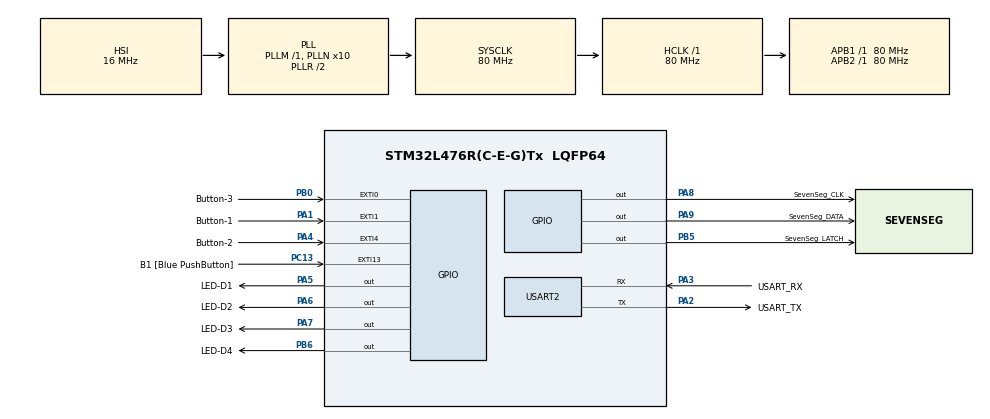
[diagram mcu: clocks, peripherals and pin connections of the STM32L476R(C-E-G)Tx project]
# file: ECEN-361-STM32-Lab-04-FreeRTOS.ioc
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FREERTOS.Tasks01=defaultTask,24,128,StartDefaultTask,Default,NULL,Dynamic,NULL,NULL
FREERTOS.configTOTAL_HEAP_SIZE=15000
FREERTOS.configUSE_NEWLIB_REENTRANT=1
Mcu.Family=STM32L4
Mcu.Name=STM32L476R(C-E-G)Tx
Mcu.Package=LQFP64
NVIC.EXTI0_IRQn=true\:5\:0\:false\:false\:true\:true\:true\:true\:true
NVIC.EXTI1_IRQn=true\:5\:0\:false\:false\:true\:true\:true\:true\:true
NVIC.EXTI4_IRQn=true\:5\:0\:false\:false\:true\:true\:true\:true\:true
NVIC.PriorityGroup=NVIC_PRIORITYGROUP_4
NVIC.TIM1_TRG_COM_TIM17_IRQn=true\:5\:0\:false\:false\:true\:true\:true\:true\:true
NVIC.TIM3_IRQn=true\:15\:0\:false\:false\:true\:false\:false\:true\:true
NVIC.TimeBase=TIM3_IRQn
NVIC.TimeBaseIP=TIM3
PA0.Signal=ADCx_IN5
PA1.GPIO_Label=Button-1
PA1.GPIO_ModeDefaultEXTI=GPIO_MODE_IT_FALLING
PA1.Signal=GPXTI1
PA13\ (JTMS-SWDIO).GPIO_Label=TMS
PA13\ (JTMS-SWDIO).Mode=Serial_Wire
PA13\ (JTMS-SWDIO).Signal=SYS_JTMS-SWDIO
PA14\ (JTCK-SWCLK).GPIO_Label=TCK
PA14\ (JTCK-SWCLK).Mode=Serial_Wire
PA14\ (JTCK-SWCLK).Signal=SYS_JTCK-SWCLK
PA2.GPIO_Label=USART_TX
PA2.GPIO_Mode=GPIO_MODE_AF_PP
PA2.GPIO_PuPd=GPIO_NOPULL
PA2.GPIO_Speed=GPIO_SPEED_FREQ_VERY_HIGH
PA2.Mode=Asynchronous
PA2.Signal=USART2_TX
PA3.GPIO_Label=USART_RX
PA3.GPIO_Mode=GPIO_MODE_AF_PP
PA3.GPIO_PuPd=GPIO_NOPULL
PA3.GPIO_Speed=GPIO_SPEED_FREQ_VERY_HIGH
PA3.Mode=Asynchronous
PA3.Signal=USART2_RX
PA4.GPIO_Label=Button-2
PA4.GPIO_ModeDefaultEXTI=GPIO_MODE_IT_FALLING
PA4.Signal=GPXTI4
PA5.GPIO_Label=LED-D1
PA5.GPIO_ModeDefaultOutputPP=GPIO_MODE_OUTPUT_OD
PA5.GPIO_PuPd=GPIO_PULLUP
PA5.GPIO_Speed=GPIO_SPEED_FREQ_VERY_HIGH
PA5.PinState=GPIO_PIN_SET
PA5.Signal=GPIO_Output
PA6.GPIO_Label=LED-D2
PA6.GPIO_ModeDefaultOutputPP=GPIO_MODE_OUTPUT_OD
PA6.GPIO_PuPd=GPIO_PULLUP
PA6.GPIO_Speed=GPIO_SPEED_FREQ_LOW
PA6.PinState=GPIO_PIN_RESET
PA6.Signal=GPIO_Output
PA7.GPIO_Label=LED-D3
PA7.GPIO_ModeDefaultOutputPP=GPIO_MODE_OUTPUT_OD
PA7.GPIO_PuPd=GPIO_PULLUP
PA7.Signal=GPIO_Output
PA8.GPIO_Label=SevenSeg_CLK
PA8.Signal=GPIO_Output
PA9.GPIO_Label=SevenSeg_DATA
PA9.Signal=GPIO_Output
PB0.GPIO_Label=Button-3
PB0.GPIO_ModeDefaultEXTI=GPIO_MODE_IT_FALLING
PB0.Signal=GPXTI0
PB3\ (JTDO-TRACESWO).Signal=SYS_JTDO-SWO
PB5.GPIO_Label=SevenSeg_LATCH
PB5.Signal=GPIO_Output
PB6.GPIO_Label=LED-D4
PB6.GPIO_ModeDefaultOutputPP=GPIO_MODE_OUTPUT_OD
PB6.GPIO_PuPd=GPIO_PULLUP
PB6.Signal=GPIO_Output
PC1.GPIO_Label=LM35_IN
PC1.Signal=ADCx_IN2
PC13.GPIO_Label=B1 [Blue PushButton]
PC13.GPIO_ModeDefaultEXTI=GPIO_MODE_IT_FALLING
PC13.GPIO_PuPd=GPIO_NOPULL
PC13.Signal=GPXTI13
PC14-OSC32_IN\ (PC14).Mode=LSE-External-Oscillator
PC14-OSC32_IN\ (PC14).Signal=RCC_OSC32_IN
PC15-OSC32_OUT\ (PC15).Mode=LSE-External-Oscillator
PC15-OSC32_OUT\ (PC15).Signal=RCC_OSC32_OUT
PH0-OSC_IN\ (PH0).Signal=RCC_OSC_IN
PH1-OSC_OUT\ (PH1).Signal=RCC_OSC_OUT
ProjectManager.HeapSize=0x200
ProjectManager.StackSize=0x400
ProjectManager.TargetToolchain=STM32CubeIDE
RCC.ADCFreq_Value=64000000
RCC.AHBFreq_Value=80000000
RCC.APB1Freq_Value=80000000
RCC.APB1TimFreq_Value=80000000
RCC.APB2Freq_Value=80000000
RCC.APB2TimFreq_Value=80000000
RCC.CortexFreq_Value=80000000
RCC.HCLKFreq_Value=80000000
RCC.HSE_VALUE=8000000
RCC.HSI_VALUE=16000000
RCC.MSI_VALUE=4000000
RCC.PLLN=10
RCC.PLLSourceVirtual=RCC_PLLSOURCE_HSI
RCC.PREFETCH_ENABLE=1
RCC.SYSCLKFreq_VALUE=80000000
RCC.SYSCLKSource=RCC_SYSCLKSOURCE_PLLCLK
RCC.USBFreq_Value=64000000
RCC.VCOOutputFreq_Value=160000000
SH.ADCx_IN2.0=ADC1_IN2
SH.ADCx_IN5.0=ADC2_IN5
TIM17.Period=100
TIM17.Prescaler=800-1
USART2.VirtualMode-Asynchronous=VM_ASYNC
VP_FREERTOS_VS_CMSIS_V2.Mode=CMSIS_V2
VP_SYS_VS_tim3.Mode=TIM3
VP_TIM17_VS_ClockSourceINT.Mode=Enable_Timer
board=NUCLEO-L476RG

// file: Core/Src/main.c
/* USER CODE BEGIN Header */
/**
  ******************************************************************************
  * @file           : main.c
  * @brief          : Main program body
  ******************************************************************************
  * @attention
  *
  * Copyright (c) 2023 STMicroelectronics.
  * All rights reserved.
  *
  * This software is licensed under terms that can be found in the LICENSE file
  * in the root directory of this software component.
  * If no LICENSE file comes with this software, it is provided AS-IS.
  *
  *
  *
  ******************************************************************************
  * @copyright	BYU-Idaho
  * @date		2023
  * @version	F23
  * @note		For course ECEN-361
  * @author		Lynn Watson
  ******************************************************************************
  *
  * Student should only modify code between
  ************** STUDENT EDITABLE HERE STARTS HERE *****
  ************** STUDENT EDITABLE HERE ENDS HERE *******
  *
  ******************************************************************************
  */
/* USER CODE END Header */
#include "main.h"
#include "cmsis_os.h"

/* USER CODE BEGIN Includes */
#include "MultiFunctionShield.h"
#include <stdbool.h>

/* USER CODE END Includes */

/* USER CODE BEGIN PD */
#define D1_time 250
#define D2_time D1_time * 2
#define D3_time D2_time * 2
#define D4_time D3_time * 2
//#define count_time 1500
/* USER CODE END PD */

TIM_HandleTypeDef htim17;

UART_HandleTypeDef huart2;

/* Definitions for defaultTask */
osThreadId_t defaultTaskHandle;
const osThreadAttr_t defaultTask_attributes = {
  .name = "defaultTask",
  .stack_size = 128 * 4,
  .priority = (osPriority_t) osPriorityNormal,
};
/* USER CODE BEGIN PV */

int count = 0;
int count_time = 1500;

/* USER CODE END PV */

void SystemClock_Config(void);
static void MX_GPIO_Init(void);
static void MX_USART2_UART_Init(void);
static void MX_TIM17_Init(void);
void StartDefaultTask(void *argument);

/* USER CODE BEGIN PFP */

/*************  Task-Creation-Part-A ******************/
/******** put any addtional task declarations in here ***********/
void D2_Task(void *argument);		// This is the default task working at the beginning of the lab
void D3_Task(void *argument);
void D4_Task(void *argument);
void SS_Task(void *argument);

/************** STUDENT EDITABLE HERE STARTS HERE *****
 *    You'll want to make your own private function prototypes for the other tasks you're adding:
 *    D3 blink task
 *    D4 blink task
 *    7-segment counting task
 ************** STUDENT EDITABLE HERE ENDS HERE *******
 */

/* USER CODE END PFP */

int main(void)
{

  /* USER CODE BEGIN 1 */
  // TaskHandle_t xHandle = NULL;
  /* USER CODE END 1 */

  /* MCU Configuration--------------------------------------------------------*/

  /* Reset of all peripherals, Initializes the Flash interface and the Systick. */
  HAL_Init();

  /* Configure the system clock */
  SystemClock_Config();

  /* Initialize all configured peripherals */
  MX_GPIO_Init();
  MX_USART2_UART_Init();
  MX_TIM17_Init();
  /* USER CODE BEGIN 2 */
  MultiFunctionShield_Clear();
  Clear_LEDs();	// Note that D1 is never quite off because the Nucleo Board Built in LED
  HAL_TIM_Base_Start_IT(&htim17);  // LED SevenSeg cycle thru them
  /* USER CODE END 2 */

  /* Init scheduler */
  osKernelInitialize();

  /* Create the thread(s) */
  /* creation of defaultTask */
  defaultTaskHandle = osThreadNew(StartDefaultTask, NULL, &defaultTask_attributes);

  /* USER CODE BEGIN RTOS_THREADS */
  /*
   *************  Task-Creation-Part-B *****************
   *
   * Here's where the task ("thread")  gets put into the scheduler Queue
   */

	//xTaskCreate(D2_Task,
				//"D2_Blink",        /* Text name for the task. */
	            //1000,      /* Stack size in words, not bytes. */
	            //( void * ) 1,    /* Parameter passed into the task. */
				//tskIDLE_PRIORITY,/* Priority at which the task is created. */
	            //&xHandle );

	osThreadNew(D2_Task, "D2 Blink", &defaultTask_attributes);
	osThreadNew(D3_Task, "D3 Blink", &defaultTask_attributes);
	osThreadNew(D4_Task, "D4 Blink", &defaultTask_attributes);
	osThreadNew(SS_Task, "Sev Seg Count", &defaultTask_attributes);

	/*
	 *
     ************** STUDENT EDITABLE HERE STARTS HERE *****
     ************  Task-Creation-Part-C *****************
     ************  Here's where the task gets launched into the OS queue of tasks
     ************  See the above one for the D2_Task

	 ************** STUDENT EDITABLE HERE ENDS HERE *******
	 */

  /* add threads, ... */
  /* USER CODE END RTOS_THREADS */

  /* USER CODE BEGIN RTOS_EVENTS */
  /* add events, ... */
	MultiFunctionShield_Display (4444);  // Lab-04 -- show all 4444's to start

  /* USER CODE END RTOS_EVENTS */

  /* Start scheduler */
  osKernelStart();

  /* We should never get here as control is now taken by the scheduler */

  /* Infinite loop */
  while (1)
  {

  }
}

void SystemClock_Config(void)
{
  RCC_OscInitTypeDef RCC_OscInitStruct = {0};
  RCC_ClkInitTypeDef RCC_ClkInitStruct = {0};

  /** Configure the main internal regulator output voltage
  */
  if (HAL_PWREx_ControlVoltageScaling(PWR_REGULATOR_VOLTAGE_SCALE1) != HAL_OK)
  {
    Error_Handler();
  }

  /** Initializes the RCC Oscillators according to the specified parameters
  * in the RCC_OscInitTypeDef structure.
  */
  RCC_OscInitStruct.OscillatorType = RCC_OSCILLATORTYPE_HSI;
  RCC_OscInitStruct.HSIState = RCC_HSI_ON;
  RCC_OscInitStruct.HSICalibrationValue = RCC_HSICALIBRATION_DEFAULT;
  RCC_OscInitStruct.PLL.PLLState = RCC_PLL_ON;
  RCC_OscInitStruct.PLL.PLLSource = RCC_PLLSOURCE_HSI;
  RCC_OscInitStruct.PLL.PLLM = 1;
  RCC_OscInitStruct.PLL.PLLN = 10;
  RCC_OscInitStruct.PLL.PLLP = RCC_PLLP_DIV7;
  RCC_OscInitStruct.PLL.PLLQ = RCC_PLLQ_DIV2;
  RCC_OscInitStruct.PLL.PLLR = RCC_PLLR_DIV2;
  if (HAL_RCC_OscConfig(&RCC_OscInitStruct) != HAL_OK)
  {
    Error_Handler();
  }

  /** Initializes the CPU, AHB and APB buses clocks
  */
  RCC_ClkInitStruct.ClockType = RCC_CLOCKTYPE_HCLK|RCC_CLOCKTYPE_SYSCLK
                              |RCC_CLOCKTYPE_PCLK1|RCC_CLOCKTYPE_PCLK2;
  RCC_ClkInitStruct.SYSCLKSource = RCC_SYSCLKSOURCE_PLLCLK;
  RCC_ClkInitStruct.AHBCLKDivider = RCC_SYSCLK_DIV1;
  RCC_ClkInitStruct.APB1CLKDivider = RCC_HCLK_DIV1;
  RCC_ClkInitStruct.APB2CLKDivider = RCC_HCLK_DIV1;

  if (HAL_RCC_ClockConfig(&RCC_ClkInitStruct, FLASH_LATENCY_4) != HAL_OK)
  {
    Error_Handler();
  }
}

static void MX_TIM17_Init(void)
{

  htim17.Instance = TIM17;
  htim17.Init.Prescaler = 800-1;
  htim17.Init.CounterMode = TIM_COUNTERMODE_UP;
  htim17.Init.Period = 100;
  htim17.Init.ClockDivision = TIM_CLOCKDIVISION_DIV1;
  htim17.Init.RepetitionCounter = 0;
  htim17.Init.AutoReloadPreload = TIM_AUTORELOAD_PRELOAD_DISABLE;
  if (HAL_TIM_Base_Init(&htim17) != HAL_OK)
  {
    Error_Handler();
  }

}

static void MX_USART2_UART_Init(void)
{

  huart2.Instance = USART2;
  huart2.Init.BaudRate = 115200;
  huart2.Init.WordLength = UART_WORDLENGTH_8B;
  huart2.Init.StopBits = UART_STOPBITS_1;
  huart2.Init.Parity = UART_PARITY_NONE;
  huart2.Init.Mode = UART_MODE_TX_RX;
  huart2.Init.HwFlowCtl = UART_HWCONTROL_NONE;
  huart2.Init.OverSampling = UART_OVERSAMPLING_16;
  huart2.Init.OneBitSampling = UART_ONE_BIT_SAMPLE_DISABLE;
  huart2.AdvancedInit.AdvFeatureInit = UART_ADVFEATURE_NO_INIT;
  if (HAL_UART_Init(&huart2) != HAL_OK)
  {
    Error_Handler();
  }

}

static void MX_GPIO_Init(void)
{
  GPIO_InitTypeDef GPIO_InitStruct = {0};

  /* GPIO Ports Clock Enable */
  __HAL_RCC_GPIOC_CLK_ENABLE();
  __HAL_RCC_GPIOH_CLK_ENABLE();
  __HAL_RCC_GPIOA_CLK_ENABLE();
  __HAL_RCC_GPIOB_CLK_ENABLE();

  /*Configure GPIO pin Output Level */
  HAL_GPIO_WritePin(LED_D1_GPIO_Port, LED_D1_Pin, GPIO_PIN_SET);

  /*Configure GPIO pin Output Level */
  HAL_GPIO_WritePin(GPIOA, LED_D2_Pin|LED_D3_Pin|SevenSeg_CLK_Pin|SevenSeg_DATA_Pin, GPIO_PIN_RESET);

  /*Configure GPIO pin Output Level */
  HAL_GPIO_WritePin(GPIOB, SevenSeg_LATCH_Pin|LED_D4_Pin, GPIO_PIN_RESET);

  /*Configure GPIO pin : B1_Pin */
  GPIO_InitStruct.Pin = B1_Pin;
  GPIO_InitStruct.Mode = GPIO_MODE_IT_FALLING;
  GPIO_InitStruct.Pull = GPIO_NOPULL;
  HAL_GPIO_Init(B1_GPIO_Port, &GPIO_InitStruct);

  /*Configure GPIO pin : LM35_IN_Pin */
  GPIO_InitStruct.Pin = LM35_IN_Pin;
  GPIO_InitStruct.Mode = GPIO_MODE_ANALOG_ADC_CONTROL;
  GPIO_InitStruct.Pull = GPIO_NOPULL;
  HAL_GPIO_Init(LM35_IN_GPIO_Port, &GPIO_InitStruct);

  /*Configure GPIO pin : PA0 */
  GPIO_InitStruct.Pin = GPIO_PIN_0;
  GPIO_InitStruct.Mode = GPIO_MODE_ANALOG_ADC_CONTROL;
  GPIO_InitStruct.Pull = GPIO_NOPULL;
  HAL_GPIO_Init(GPIOA, &GPIO_InitStruct);

  /*Configure GPIO pins : Button_1_Pin Button_2_Pin */
  GPIO_InitStruct.Pin = Button_1_Pin|Button_2_Pin;
  GPIO_InitStruct.Mode = GPIO_MODE_IT_FALLING;
  GPIO_InitStruct.Pull = GPIO_NOPULL;
  HAL_GPIO_Init(GPIOA, &GPIO_InitStruct);

//  /*Configure GPIO pin : LED_D1_Pin */
//  GPIO_InitStruct.Pin = LED_D1_Pin;
//  GPIO_InitStruct.Mode = GPIO_MODE_OUTPUT_OD;
//  GPIO_InitStruct.Pull = GPIO_PULLUP;
//  GPIO_InitStruct.Speed = GPIO_SPEED_FREQ_VERY_HIGH;
//  HAL_GPIO_Init(LED_D1_GPIO_Port, &GPIO_InitStruct);

  // I was told not to change this, but I did anyway
  /*Configure GPIO pin : LED_D1_Pin */
  GPIO_InitStruct.Pin = LED_D1_Pin;
  GPIO_InitStruct.Mode = GPIO_MODE_OUTPUT_PP;   // push-pull instead of open-drain
  GPIO_InitStruct.Pull = GPIO_NOPULL;           // no internal pull-up
  GPIO_InitStruct.Speed = GPIO_SPEED_FREQ_VERY_HIGH;
  HAL_GPIO_Init(LED_D1_GPIO_Port, &GPIO_InitStruct);

  /*Configure GPIO pins : LED_D2_Pin LED_D3_Pin */
  GPIO_InitStruct.Pin = LED_D2_Pin|LED_D3_Pin;
  GPIO_InitStruct.Mode = GPIO_MODE_OUTPUT_OD;
  GPIO_InitStruct.Pull = GPIO_PULLUP;
  GPIO_InitStruct.Speed = GPIO_SPEED_FREQ_LOW;
  HAL_GPIO_Init(GPIOA, &GPIO_InitStruct);

  /*Configure GPIO pin : Button_3_Pin */
  GPIO_InitStruct.Pin = Button_3_Pin;
  GPIO_InitStruct.Mode = GPIO_MODE_IT_FALLING;
  GPIO_InitStruct.Pull = GPIO_NOPULL;
  HAL_GPIO_Init(Button_3_GPIO_Port, &GPIO_InitStruct);

  /*Configure GPIO pins : SevenSeg_CLK_Pin SevenSeg_DATA_Pin */
  GPIO_InitStruct.Pin = SevenSeg_CLK_Pin|SevenSeg_DATA_Pin;
  GPIO_InitStruct.Mode = GPIO_MODE_OUTPUT_PP;
  GPIO_InitStruct.Pull = GPIO_NOPULL;
  GPIO_InitStruct.Speed = GPIO_SPEED_FREQ_LOW;
  HAL_GPIO_Init(GPIOA, &GPIO_InitStruct);

  /*Configure GPIO pin : SevenSeg_LATCH_Pin */
  GPIO_InitStruct.Pin = SevenSeg_LATCH_Pin;
  GPIO_InitStruct.Mode = GPIO_MODE_OUTPUT_PP;
  GPIO_InitStruct.Pull = GPIO_NOPULL;
  GPIO_InitStruct.Speed = GPIO_SPEED_FREQ_LOW;
  HAL_GPIO_Init(SevenSeg_LATCH_GPIO_Port, &GPIO_InitStruct);

  /*Configure GPIO pin : LED_D4_Pin */
  GPIO_InitStruct.Pin = LED_D4_Pin;
  GPIO_InitStruct.Mode = GPIO_MODE_OUTPUT_OD;
  GPIO_InitStruct.Pull = GPIO_PULLUP;
  GPIO_InitStruct.Speed = GPIO_SPEED_FREQ_LOW;
  HAL_GPIO_Init(LED_D4_GPIO_Port, &GPIO_InitStruct);

  /* EXTI interrupt init*/
  HAL_NVIC_SetPriority(EXTI0_IRQn, 5, 0);
  HAL_NVIC_EnableIRQ(EXTI0_IRQn);

  HAL_NVIC_SetPriority(EXTI1_IRQn, 5, 0);
  HAL_NVIC_EnableIRQ(EXTI1_IRQn);

  HAL_NVIC_SetPriority(EXTI4_IRQn, 5, 0);
  HAL_NVIC_EnableIRQ(EXTI4_IRQn);

}

/* USER CODE BEGIN 4 */

/*
    ************  Task-Creation-Part-B *****************
*/

void D2_Task(void *argument)
    {
	while(true)
        {
			HAL_GPIO_TogglePin(LED_D2_GPIO_Port,LED_D2_Pin);
            osDelay(D2_time);
        }
	osThreadTerminate(NULL);
    }

void D3_Task(void *argument)
    {
	while(true)
        {
			HAL_GPIO_TogglePin(LED_D3_GPIO_Port,LED_D3_Pin);
            osDelay(D3_time);
        }
	osThreadTerminate(NULL);
    }

void D4_Task(void *argument)
    {
	while(true)
        {
			HAL_GPIO_TogglePin(LED_D4_GPIO_Port,LED_D4_Pin);
            osDelay(D4_time);
        }
	osThreadTerminate(NULL);
    }

void SS_Task(void *argument)
    {
	while(true)
        {
//			MultiFunctionShield_Display (count);
//			count = (count < 9999) ? (count + 1) : 0; // Wrap back around to 0
//            osDelay(count_time);

			MultiFunctionShield_Display (count);
			count = (count < 9999) ? (count + 1) : 9999; // Wrap back around to 0
            osDelay(count_time);
        }
	osThreadTerminate(NULL);
    }

void HAL_GPIO_EXTI_Callback(uint16_t GPIO_Pin)
	{
	// All three buttons generate GPIO  interrupts
  /************** STUDENT EDITABLE HERE STARTS HERE *****/
	switch(GPIO_Pin)
	{
	case Button_1_Pin:
		count_time = (count_time > 0) ? (count_time / 2) : 1500;
		break;
//	case Button_2_Pin:
//		break;
//	case Button_3_Pin:
//		break;
	default:
      __NOP();
	}
  /************** STUDENT EDITABLE HERE ENDS HERE *****/
}

/************** STUDENT EDITABLE HERE STARTS HERE *****
    ************
    ************  Here's where the definition of the task (the 'callback') gets made
    ************  See the above one for the D2_Task
    Put definition of other tasks here

    ************** STUDENT EDITABLE HERE ENDS HERE *******
*/

/* USER CODE END 4 */

void StartDefaultTask(void *argument)
{
  /* USER CODE BEGIN 5 */
/* This task is created automatically and can't be deleted
*/
/* Infinite loop */
  for(;;)
  {
	  //  HAL_GPIO_WritePin(LED_D1_GPIO_Port,LED_D1_Pin,1); //Active low on the multiboard
	  // I was told not to change this, but I did anyway
	  HAL_GPIO_TogglePin(LED_D1_GPIO_Port,LED_D1_Pin); // Toggle LED1
	  osDelay(D1_time);
  }
  // If we goof, exit gracefully
  osThreadTerminate(NULL);
  /* USER CODE END 5 */
}

void HAL_TIM_PeriodElapsedCallback(TIM_HandleTypeDef *htim)
{
  /* USER CODE BEGIN Callback 0 */
	// Check which version of the timer triggered this callback and toggle the right LED
	/** This timer has to be here to cycle thru the 7-Seg LED displays **/
	  if (htim == &htim17 )
	  {
		  MultiFunctionShield__ISRFunc();
	  }

  /* USER CODE END Callback 0 */
  if (htim->Instance == TIM3)
  {
    HAL_IncTick();
  }
}

void Error_Handler(void)
{
  __disable_irq();
  while (1)
  {
  }
}
